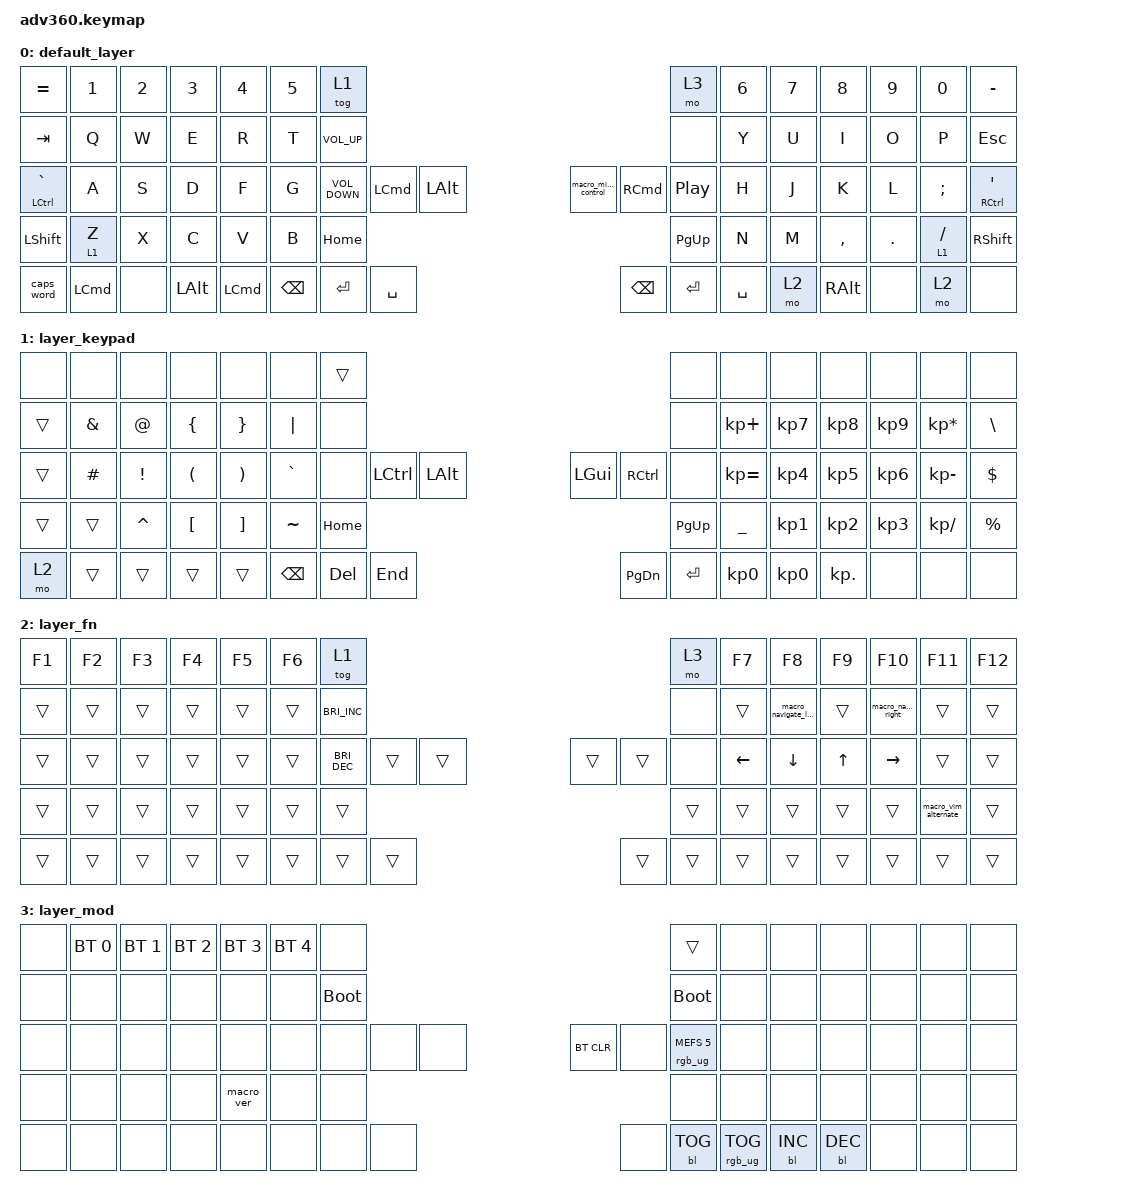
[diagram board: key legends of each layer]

/*
 * Copyright (c) 2020 The ZMK Contributors
 *
 * SPDX-License-Identifier: MIT
 */


/* THIS FILE WAS GENERATED!
 *
 * This file was generated automatically. You may or may not want to
 * edit it directly.
 */

#include <behaviors.dtsi>
#include <dt-bindings/zmk/keys.h>
#include <dt-bindings/zmk/bt.h>
#include <dt-bindings/zmk/rgb.h>
#include <dt-bindings/zmk/backlight.h>

&lt {
    tapping-term-ms = <120>;
};


/ {
  behaviors {
    #include "macros.dtsi"
    #include "version.dtsi"

    hm: homerow_mods {
        compatible = "zmk,behavior-hold-tap";
        label = "HOMEROW_MODS";
        #binding-cells = <2>;
        tapping-term-ms = <200>;
        quick_tap_ms = <175>;
        flavor = "tap-preferred";
        bindings = <&kp>, <&kp>;
    };
  };

    keymap {
        compatible = "zmk,keymap";


        default_layer {
            bindings = <
              &kp EQUAL          &kp N1      &kp N2        &kp N3            &kp N4  &kp N5                       &tog 1                                                                                                     &mo 3  &kp N6  &kp N7         &kp N8   &kp N9           &kp N0             &kp MINUS
                &kp TAB           &kp Q       &kp W         &kp E             &kp R   &kp T              &kp C_VOLUME_UP                                                                                                     &none   &kp Y   &kp U          &kp I    &kp O            &kp P               &kp ESC
 &mt LEFT_CONTROL GRAVE           &kp A       &kp S         &kp D             &kp F   &kp G            &kp C_VOLUME_DOWN  &kp LEFT_COMMAND   &kp LALT                  &macro_mission_control  &kp RIGHT_COMMAND  &kp C_PLAY_PAUSE   &kp H   &kp J          &kp K    &kp L    &kp SEMICOLON  &mt RCTRL APOSTROPHE
              &kp LSHFT         &lt 1 Z       &kp X         &kp C             &kp V   &kp B                                                  &kp HOME                               &kp PG_UP                                        &kp N   &kp M      &kp COMMA  &kp DOT      &lt 1 SLASH             &kp RSHFT
             &caps_word      &kp LEFT_COMMAND      &none  &kp LEFT_ALT  &kp LEFT_COMMAND                             &kp BSPC         &kp ENTER  &kp SPACE                                &kp BSPC          &kp ENTER         &kp SPACE           &mo 2  &kp RIGHT_ALT    &none       &mo 2                 &none
            >;
        };

        layer_keypad {
            bindings = <
  &none          &none            &none                 &none                  &none      &none              &trans                                                                 &none           &none      &none       &none      &none            &none        &none
 &trans  &kp AMPERSAND           &kp AT        &kp LEFT_BRACE        &kp RIGHT_BRACE   &kp PIPE               &none                                                                 &none     &kp KP_PLUS  &kp KP_N7   &kp KP_N8  &kp KP_N9  &kp KP_MULTIPLY     &kp BSLH
 &trans      &kp POUND  &kp EXCLAMATION  &kp LEFT_PARENTHESIS  &kp RIGHT_PARENTHESIS  &kp GRAVE               &none  &kp LCTRL  &kp LALT                   &kp LGUI  &kp RCTRL      &none    &kp KP_EQUAL  &kp KP_N4   &kp KP_N5  &kp KP_N6     &kp KP_MINUS   &kp DOLLAR
 &trans         &trans        &kp CARET      &kp LEFT_BRACKET      &kp RIGHT_BRACKET  &kp TILDE                                 &kp HOME                  &kp PG_UP                        &kp UNDERSCORE  &kp KP_N1   &kp KP_N2  &kp KP_N3    &kp KP_DIVIDE  &kp PERCENT
  &mo 2         &trans           &trans                &trans                 &trans                       &kp BSPC    &kp DEL   &kp END                  &kp PG_DN  &kp ENTER  &kp KP_N0                  &kp KP_N0  &kp KP_DOT      &none            &none        &none
            >;
        };

        layer_fn {
            bindings = <
 &kp F1  &kp F2  &kp F3  &kp F4  &kp F5  &kp F6                          &tog 1                                                   &mo 3          &kp F7                &kp F8        &kp F9                &kp F10               &kp F11  &kp F12
 &trans  &trans  &trans  &trans  &trans  &trans            &kp C_BRIGHTNESS_INC                                                   &none          &trans  &macro_navigate_left        &trans  &macro_navigate_right                &trans   &trans
 &trans  &trans  &trans  &trans  &trans  &trans            &kp C_BRIGHTNESS_DEC  &trans  &trans                  &trans  &trans   &none  &kp LEFT_ARROW        &kp DOWN_ARROW  &kp UP_ARROW        &kp RIGHT_ARROW                &trans   &trans
 &trans  &trans  &trans  &trans  &trans  &trans                                          &trans                  &trans                          &trans                &trans        &trans                 &trans  &macro_vim_alternate   &trans
 &trans  &trans  &trans  &trans  &trans                                  &trans  &trans  &trans                  &trans  &trans  &trans                                &trans        &trans                 &trans                &trans   &trans
            >;
        };

        layer_mod {
            bindings = <
  &none  &bt BT_SEL 0  &bt BT_SEL 1  &bt BT_SEL 2  &bt BT_SEL 3  &bt BT_SEL 4                  &none                                                                          &trans   &none       &none       &none   &none   &none   &none
  &none         &none         &none         &none         &none         &none            &bootloader                                                                     &bootloader   &none       &none       &none   &none   &none   &none
  &none         &none         &none         &none         &none         &none                  &none   &none   &none                  &bt BT_CLR       &none  &rgb_ug RGB_MEFS_CMD 5   &none       &none       &none   &none   &none   &none
  &none         &none         &none         &none    &macro_ver         &none                                  &none                       &none                                       &none       &none       &none   &none   &none   &none
  &none         &none         &none         &none         &none                                &none   &none   &none                       &none  &bl BL_TOG         &rgb_ug RGB_TOG          &bl BL_INC  &bl BL_DEC   &none   &none   &none
            >;
        };

    };
};
